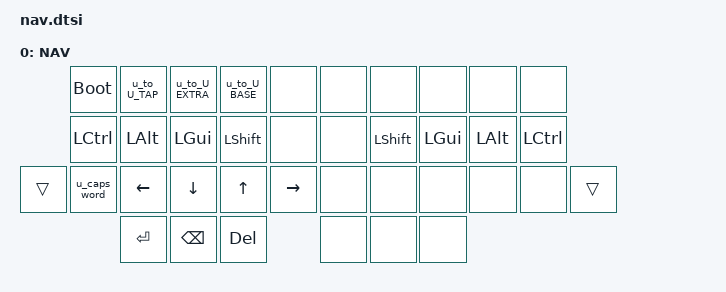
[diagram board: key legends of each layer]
/ {
    keymap {
        compatible = "zmk,keymap";

        nav_layer {
            label = "NAV";
            bindings = <
  // Top row
                  &bootloader   &u_to_U_TAP     &u_to_U_EXTRA  &u_to_U_BASE  &none          &none        &none          &none         &none        &none

  // Home row (CAGS order)
                  &kp LCTRL     &kp LALT        &kp LGUI       &kp LSHFT     &none          &none        &kp LSHFT      &kp LGUI      &kp LALT     &kp LCTRL

  // Bottom row (outer pinkies)
        &trans    &u_caps_word  &kp LEFT        &kp DOWN       &kp UP        &kp RIGHT      &none        &none          &none         &none        &none        &trans

  // Thumbs
                                &kp RET         &kp BSPC       &kp DEL                     &none        &none          &none
            >;
        };
    };
};
